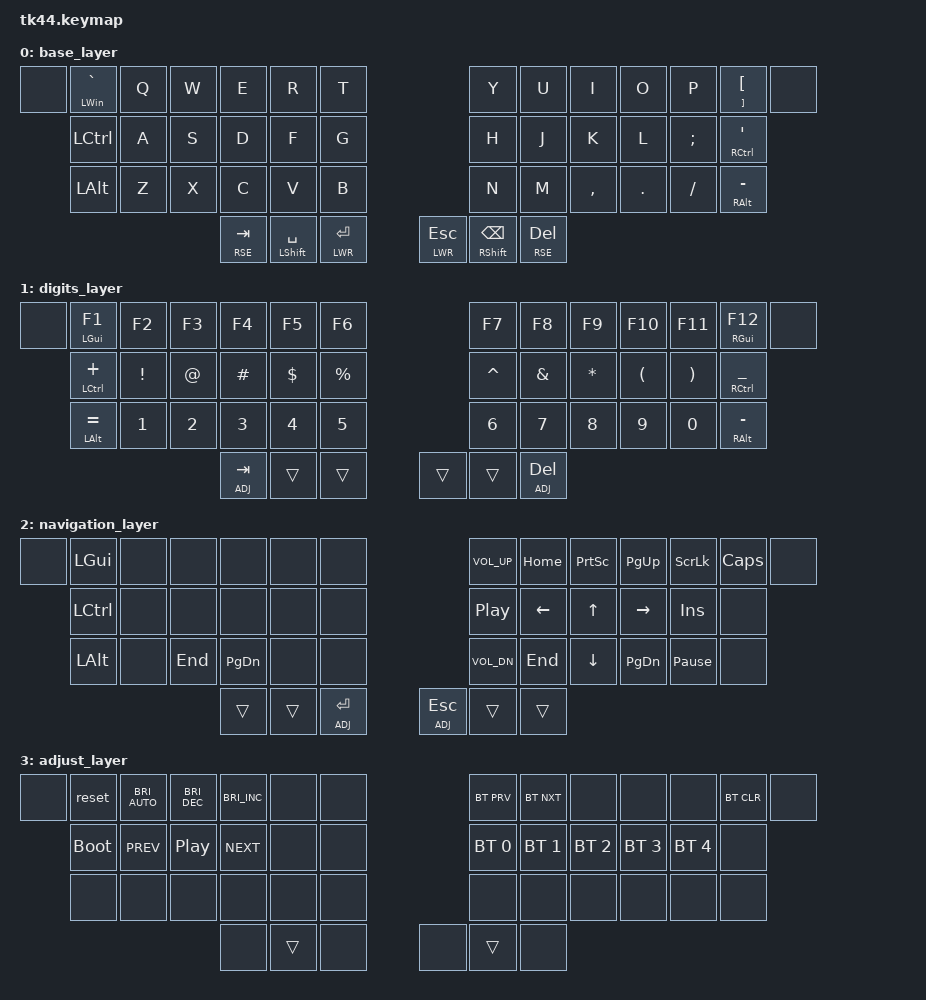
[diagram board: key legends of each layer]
/*
 * Copyright (c) 2022 The ZMK Contributors
 *
 * SPDX-License-Identifier: MIT
 */

#include <behaviors.dtsi>
#include <dt-bindings/zmk/keys.h>
#include <dt-bindings/zmk/bt.h>

#define DEF 0
#define LWR 1
#define RSE 2
#define ADJ 3

#define DEF 0
#define LWR 1
#define RSE 2
#define ADJ 3

&lt { quick_tap_ms = <200>; };
&mt { quick_tap_ms = <200>; };

/ {
        keymap {
                compatible = "zmk,keymap";

                base_layer {
                        bindings = <
                                //┌─────────────────┬─────────────────┬─────────────────┬─────────────────┬─────────────────┬─────────────────┬─────────────────┐                             ┌─────────────────┬─────────────────┬─────────────────┬─────────────────┬─────────────────┬─────────────────┬─────────────────┐
                                //│                 │                 │                 │                 │                 │                 │                 │                             │                 │                 │                 │                 │                 │                 │                 │
                                    &none             &mt LWIN GRAVE    &kp Q             &kp W             &kp E             &kp R             &kp T                                           &kp Y             &kp U             &kp I             &kp O             &kp P             &mt RBKT LBKT     &none
                                //│                 │                 │                 │                 │                 │                 │                 │                             │                 │                 │                 │                 │                 │                 │                 │
                                //└─────────────────┼─────────────────┼─────────────────┼─────────────────┼─────────────────┼─────────────────┼─────────────────┤                             ├─────────────────┼─────────────────┼─────────────────┼─────────────────┼─────────────────┼─────────────────┼─────────────────┘
                                //                  │                 │                 │                 │                 │                 │                 │                             │                 │                 │                 │                 │                 │                 │
                                                      &kp LCTRL         &kp A             &kp S             &kp D             &kp F             &kp G                                           &kp H             &kp J             &kp K             &kp L             &kp SEMI          &mt RCTRL SQT
                                //                  │                 │                 │                 │                 │                 │                 │                             │                 │                 │                 │                 │                 │                 │
                                //                  ├─────────────────┼─────────────────┼─────────────────┼─────────────────┼─────────────────┼─────────────────┤                             ├─────────────────┼─────────────────┼─────────────────┼─────────────────┼─────────────────┼─────────────────┤
                                //                  │                 │                 │                 │                 │                 │                 │                             │                 │                 │                 │                 │                 │                 │
                                                      &kp LALT          &kp Z             &kp X             &kp C             &kp V             &kp B                                           &kp N             &kp M             &kp COMMA         &kp PERIOD        &kp SLASH         &mt RALT MINUS
                                //                  │                 │                 │                 │                 │                 │                 │                             │                 │                 │                 │                 │                 │                 │
                                //                  └─────────────────┴─────────────────┴─────────────────┴────────┬────────┴────────┬────────┴────────┬────────┴────────┐          ┌─────────┴────────┬────────┴────────┬────────┴────────┬────────┴─────────────────┴─────────────────┴─────────────────┘
                                //                                                                                 │                 │                 │                 │          │                  │                 │                 │
                                                                                                                     &lt RSE TAB       &mt LSHFT SPACE   &lt LWR RET                  &lt LWR ESC        &mt RSHFT BSPC    &lt RSE DEL
                                //                                                                                 │                 │                 │                 │          │                  │                 │                 │
                                //                                                                                 └─────────────────┴─────────────────┴─────────────────┘          └──────────────────┴─────────────────┴─────────────────┘
                        >;
                };
                digits_layer {
                        bindings = <
                                //┌─────────────────┬─────────────────┬─────────────────┬─────────────────┬─────────────────┬─────────────────┬─────────────────┐                             ┌─────────────────┬─────────────────┬─────────────────┬─────────────────┬─────────────────┬─────────────────┬─────────────────┐
                                //│                 │                 │                 │                 │                 │                 │                 │                             │                 │                 │                 │                 │                 │                 │                 │
                                    &none             &mt LGUI F1       &kp F2            &kp F3            &kp F4            &kp F5            &kp F6                                          &kp F7            &kp F8            &kp F9            &kp F10           &kp F11           &mt RGUI F12      &none
                                //│                 │                 │                 │                 │                 │                 │                 │                             │                 │                 │                 │                 │                 │                 │                 │
                                //└─────────────────┼─────────────────┼─────────────────┼─────────────────┼─────────────────┼─────────────────┼─────────────────┤                             ├─────────────────┼─────────────────┼─────────────────┼─────────────────┼─────────────────┼─────────────────┼─────────────────┘
                                //                  │                 │                 │                 │                 │                 │                 │                             │                 │                 │                 │                 │                 │                 │
                                                      &mt LCTRL PLUS    &kp EXCL          &kp AT            &kp HASH          &kp DOLLAR        &kp PERCENT                                     &kp CARET         &kp AMPERSAND     &kp ASTERISK      &kp LPAR          &kp RPAR          &mt RCTRL UNDER
                                //                  │                 │                 │                 │                 │                 │                 │                             │                 │                 │                 │                 │                 │                 │
                                //                  ├─────────────────┼─────────────────┼─────────────────┼─────────────────┼─────────────────┼─────────────────┤                             ├─────────────────┼─────────────────┼─────────────────┼─────────────────┼─────────────────┼─────────────────┤
                                //                  │                 │                 │                 │                 │                 │                 │                             │                 │                 │                 │                 │                 │                 │
                                                      &mt LALT EQUAL    &kp N1            &kp N2            &kp N3            &kp N4            &kp N5                                          &kp N6            &kp N7            &kp N8            &kp N9            &kp N0            &mt RALT MINUS
                                //                  │                 │                 │                 │                 │                 │                 │                             │                 │                 │                 │                 │                 │                 │
                                //                  └─────────────────┴─────────────────┴─────────────────┴────────┬────────┴────────┬────────┴────────┬────────┴────────┐          ┌─────────┴────────┬────────┴────────┬────────┴────────┬────────┴─────────────────┴─────────────────┴─────────────────┘
                                //                                                                                 │                 │                 │                 │          │                  │                 │                 │
                                                                                                                     &lt ADJ TAB       &trans            &trans                       &trans             &trans            &lt ADJ DEL
                                //                                                                                 │                 │                 │                 │          │                  │                 │                 │
                                //                                                                                 └─────────────────┴─────────────────┴─────────────────┘          └──────────────────┴─────────────────┴─────────────────┘
                        >;
                };

                navigation_layer {
                        bindings = <
                                //┌─────────────────┬─────────────────┬─────────────────┬─────────────────┬─────────────────┬─────────────────┬─────────────────┐                             ┌─────────────────┬─────────────────┬─────────────────┬─────────────────┬─────────────────┬─────────────────┬─────────────────┐
                                //│                 │                 │                 │                 │                 │                 │                 │                             │                 │                 │                 │                 │                 │                 │                 │
                                    &none             &kp LGUI          &none             &none             &none             &none             &none                                           &kp C_VOL_UP      &kp HOME          &kp PSCRN         &kp PG_UP         &kp SLCK          &kp CAPS          &none
                                //│                 │                 │                 │                 │                 │                 │                 │                             │                 │                 │                 │                 │                 │                 │                 │
                                //└─────────────────┼─────────────────┼─────────────────┼─────────────────┼─────────────────┼─────────────────┼─────────────────┤                             ├─────────────────┼─────────────────┼─────────────────┼─────────────────┼─────────────────┼─────────────────┼─────────────────┘
                                //                  │                 │                 │                 │                 │                 │                 │                             │                 │                 │                 │                 │                 │                 │
                                                      &kp LCTRL         &none             &none             &none             &none             &none                                           &kp C_PLAY_PAUSE  &kp LEFT          &kp UP            &kp RIGHT         &kp INS            &none
                                //                  │                 │                 │                 │                 │                 │                 │                             │                 │                 │                 │                 │                 │                 │
                                //                  ├─────────────────┼─────────────────┼─────────────────┼─────────────────┼─────────────────┼─────────────────┤                             ├─────────────────┼─────────────────┼─────────────────┼─────────────────┼─────────────────┼─────────────────┤
                                //                  │                 │                 │                 │                 │                 │                 │                             │                 │                 │                 │                 │                 │                 │
                                                      &kp LALT          &none             &kp END           &kp PG_DN         &none             &none                                           &kp C_VOL_DN      &kp END           &kp DOWN          &kp PG_DN         &kp PAUSE_BREAK    &none
                                //                  │                 │                 │                 │                 │                 │                 │                             │                 │                 │                 │                 │                 │                 │
                                //                  └─────────────────┴─────────────────┴─────────────────┴────────┬────────┴────────┬────────┴────────┬────────┴────────┐          ┌─────────┴────────┬────────┴────────┬────────┴────────┬────────┴─────────────────┴─────────────────┴─────────────────┘
                                //                                                                                 │                 │                 │                 │          │                  │                 │                 │
                                                                                                                     &trans            &trans            &lt ADJ RET                  &lt ADJ ESC        &trans            &trans
                                //                                                                                 │                 │                 │                 │          │                  │                 │                 │
                                //                                                                                 └─────────────────┴─────────────────┴─────────────────┘          └──────────────────┴─────────────────┴─────────────────┘
                        >;
                };
                adjust_layer {
                        bindings = <
                                //┌─────────────────┬─────────────────┬─────────────────┬─────────────────┬─────────────────┬─────────────────┬─────────────────┐                             ┌─────────────────┬─────────────────┬─────────────────┬─────────────────┬─────────────────┬─────────────────┬─────────────────┐
                                //│                 │                 │                 │                 │                 │                 │                 │                             │                 │                 │                 │                 │                 │                 │                 │
                                    &none             &reset            &kp C_BRI_AUTO    &kp C_BRI_DEC     &kp C_BRI_INC     &none             &none                                           &bt BT_PRV        &bt BT_NXT        &none             &none             &none             &bt BT_CLR        &none
                                //│                 │                 │                 │                 │                 │                 │                 │                             │                 │                 │                 │                 │                 │                 │                 │
                                //└─────────────────┼─────────────────┼─────────────────┼─────────────────┼─────────────────┼─────────────────┼─────────────────┤                             ├─────────────────┼─────────────────┼─────────────────┼─────────────────┼─────────────────┼─────────────────┼─────────────────┘
                                //                  │                 │                 │                 │                 │                 │                 │                             │                 │                 │                 │                 │                 │                 │
                                                      &bootloader       &kp C_PREV        &kp C_PP          &kp C_NEXT        &none             &none                                           &bt BT_SEL 0      &bt BT_SEL 1      &bt BT_SEL 2      &bt BT_SEL 3      &bt BT_SEL 4      &none
                                //                  │                 │                 │                 │                 │                 │                 │                             │                 │                 │                 │                 │                 │                 │
                                //                  ├─────────────────┼─────────────────┼─────────────────┼─────────────────┼─────────────────┼─────────────────┤                             ├─────────────────┼─────────────────┼─────────────────┼─────────────────┼─────────────────┼─────────────────┤
                                //                  │                 │                 │                 │                 │                 │                 │                             │                 │                 │                 │                 │                 │                 │
                                                      &none             &none             &none             &none             &none             &none                                           &none             &none             &none             &none             &none             &none
                                //                  │                 │                 │                 │                 │                 │                 │                             │                 │                 │                 │                 │                 │                 │
                                //                  └─────────────────┴─────────────────┴─────────────────┴────────┬────────┴────────┬────────┴────────┬────────┴────────┐          ┌─────────┴────────┬────────┴────────┬────────┴────────┬────────┴─────────────────┴─────────────────┴─────────────────┘
                                //                                                                                 │                 │                 │                 │          │                  │                 │                 │
                                                                                                                     &none             &trans            &none                        &none              &trans            &none
                                //                                                                                 │                 │                 │                 │          │                  │                 │                 │
                                //                                                                                 └─────────────────┴─────────────────┴─────────────────┘          └──────────────────┴─────────────────┴─────────────────┘
                        >;
                };
        };
};
